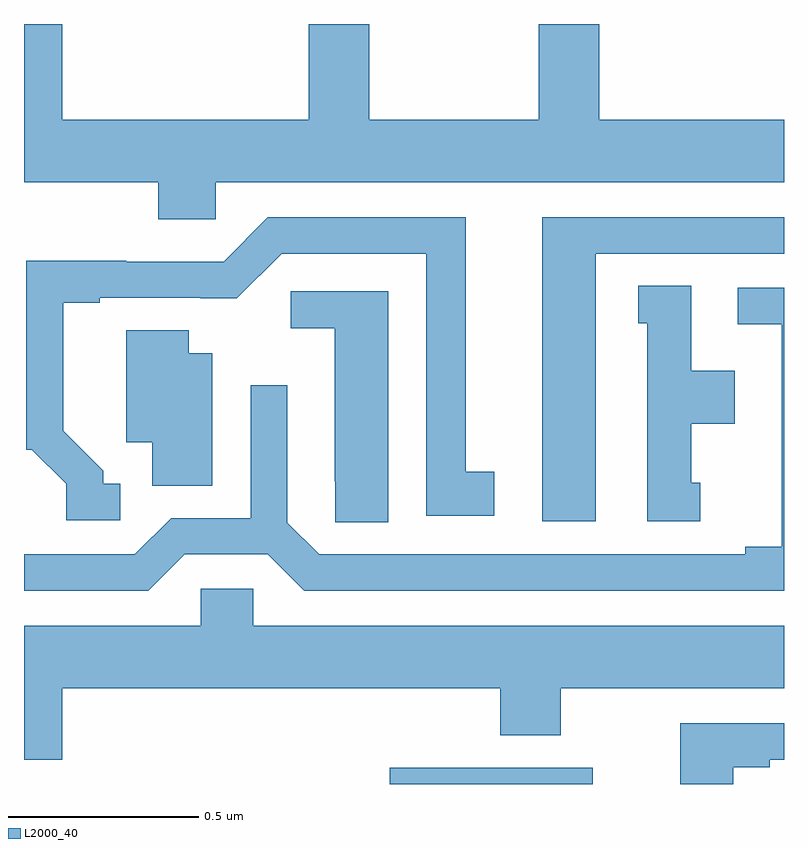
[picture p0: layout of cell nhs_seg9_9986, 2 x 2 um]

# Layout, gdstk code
import gdstk
lib = gdstk.Library(unit=1e-6, precision=1e-09)
def R(c, l, rs):  # rectangles x0, y0, x1, y1
    for r in rs: c.add(gdstk.rectangle(r[:2], r[2:], *l))
def P(c, l, *ps):  # polygons
    for p in ps: c.add(gdstk.Polygon(p, *l))
L2000_40 = (2000, 40)

nhs_seg9_9986 = lib.new_cell('nhs_seg9_9986')
R(nhs_seg9_9986, L2000_40, [(237.963,1197.5,238.497,1197.543)])
P(nhs_seg9_9986, L2000_40, [(237.504,1199.084),(239,1199.084),(239,1199.248),(238.514,1199.248),(238.514,1199.5),(238.354,1199.5),(238.354,1199.248),(237.909,1199.248),(237.909,1199.5),(237.749,1199.5),(237.749,1199.248),(237.1,1199.248),(237.1,1199.5),(237,1199.5),(237,1199.084),(237.353,1199.084),(237.353,1198.986),(237.504,1198.986)],
  [(238.504,1198.896),(239,1198.896),(239,1198.992),(238.364,1198.992),(238.364,1198.191),(238.504,1198.191)],
  [(237.253,1198.29),(237.208,1198.29),(237.208,1198.325),(237.103,1198.43),(237.103,1198.767),(237.199,1198.767),(237.199,1198.779),(237.464,1198.779),(237.464,1198.778),(237.56,1198.778),(237.678,1198.896),(238.058,1198.896),(238.058,1198.206),(238.237,1198.206),(238.237,1198.322),(238.162,1198.322),(238.162,1198.992),(237.642,1198.992),(237.525,1198.875),(237.269,1198.875),(237.269,1198.877),(237.006,1198.877),(237.006,1198.38),(237.021,1198.38),(237.111,1198.29),(237.111,1198.194),(237.253,1198.194)],
  [(238.78,1198.293),(238.756,1198.293),(238.756,1198.448),(238.87,1198.448),(238.87,1198.588),(238.756,1198.588),(238.756,1198.811),(238.616,1198.811),(238.616,1198.713),(238.64,1198.713),(238.64,1198.191),(238.78,1198.191)],
  [(237.423,1198.104),(237.641,1198.104),(237.737,1198.008),(239,1198.008),(239,1198.806),(238.878,1198.806),(238.878,1198.71),(238.994,1198.71),(238.994,1198.124),(238.898,1198.124),(238.898,1198.104),(237.777,1198.104),(237.693,1198.188),(237.693,1198.549),(237.597,1198.549),(237.597,1198.2),(237.387,1198.2),(237.291,1198.104),(237,1198.104),(237,1198.008),(237.327,1198.008)],
  [(237.958,1198.797),(237.702,1198.797),(237.702,1198.7),(237.818,1198.7),(237.818,1198.297),(237.819,1198.297),(237.819,1198.189),(237.958,1198.189)],
  [(237.496,1198.633),(237.433,1198.633),(237.433,1198.694),(237.269,1198.694),(237.269,1198.4),(237.338,1198.4),(237.338,1198.285),(237.496,1198.285)],
  [(237.1,1197.752),(238.253,1197.752),(238.253,1197.628),(238.413,1197.628),(238.413,1197.752),(239,1197.752),(239,1197.916),(237.603,1197.916),(237.603,1198.014),(237.465,1198.014),(237.465,1197.916),(237,1197.916),(237,1197.564),(237.1,1197.564)],
  [(238.867,1197.544),(238.963,1197.544),(238.963,1197.564),(239,1197.564),(239,1197.66),(238.727,1197.66),(238.727,1197.5),(238.867,1197.5)])

lib.write_gds('nhs_seg9_9986.gds')
